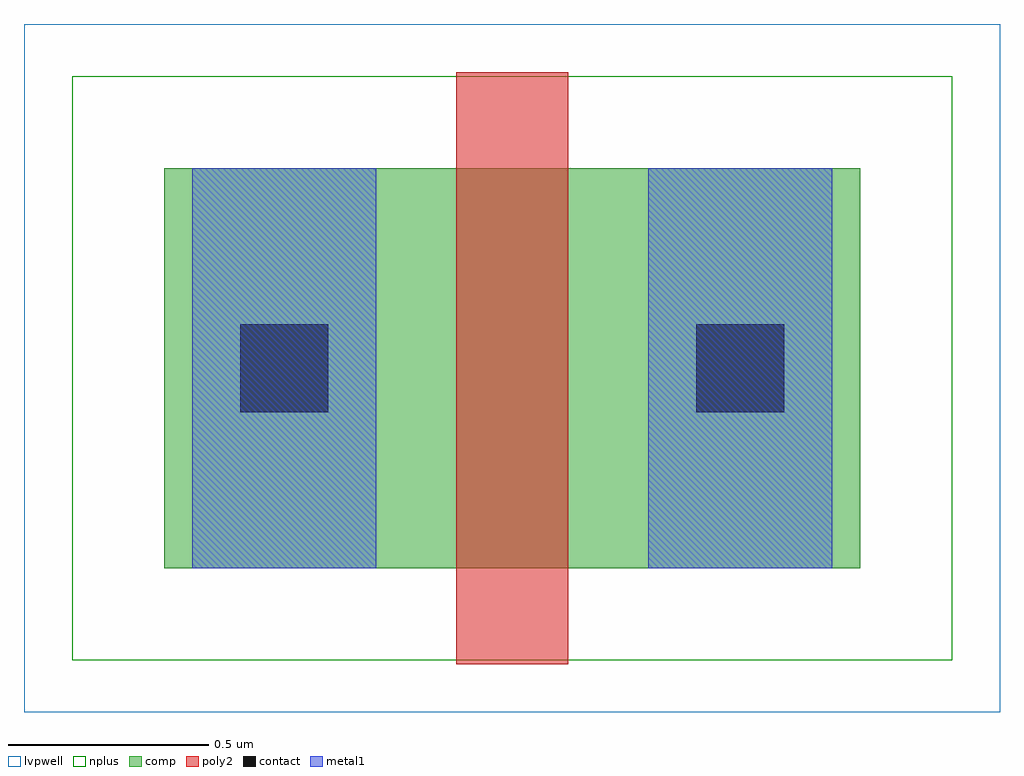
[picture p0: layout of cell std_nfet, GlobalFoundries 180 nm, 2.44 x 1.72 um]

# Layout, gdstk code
import gdstk
lib = gdstk.Library(unit=1e-6, precision=5e-09)
def R(c, l, rs):  # rectangles x0, y0, x1, y1
    for r in rs: c.add(gdstk.rectangle(r[:2], r[2:], *l))
comp = (22, 0)
poly2 = (30, 0)
nplus = (32, 0)
contact = (33, 0)
metal1 = (34, 0)
lvpwell = (204, 0)

std_nfet = lib.new_cell('std_nfet')
R(std_nfet, comp, [(-0.87,-0.5,0.87,0.5)])
R(std_nfet, poly2, [(-0.14,-0.74,0.14,0.74)])
R(std_nfet, nplus, [(-1.1,-0.73,1.1,0.73)])
R(std_nfet, contact, [(-0.68,-0.11,-0.46,0.11), (0.46,-0.11,0.68,0.11)])
R(std_nfet, metal1, [(-0.8,-0.5,-0.34,0.5), (0.34,-0.5,0.8,0.5), (-0.8,-0.23,-0.34,0.23), (0.34,-0.23,0.8,0.23)])
R(std_nfet, lvpwell, [(-1.22,-0.86,1.22,0.86)])

lib.write_gds('std_nfet.gds')
